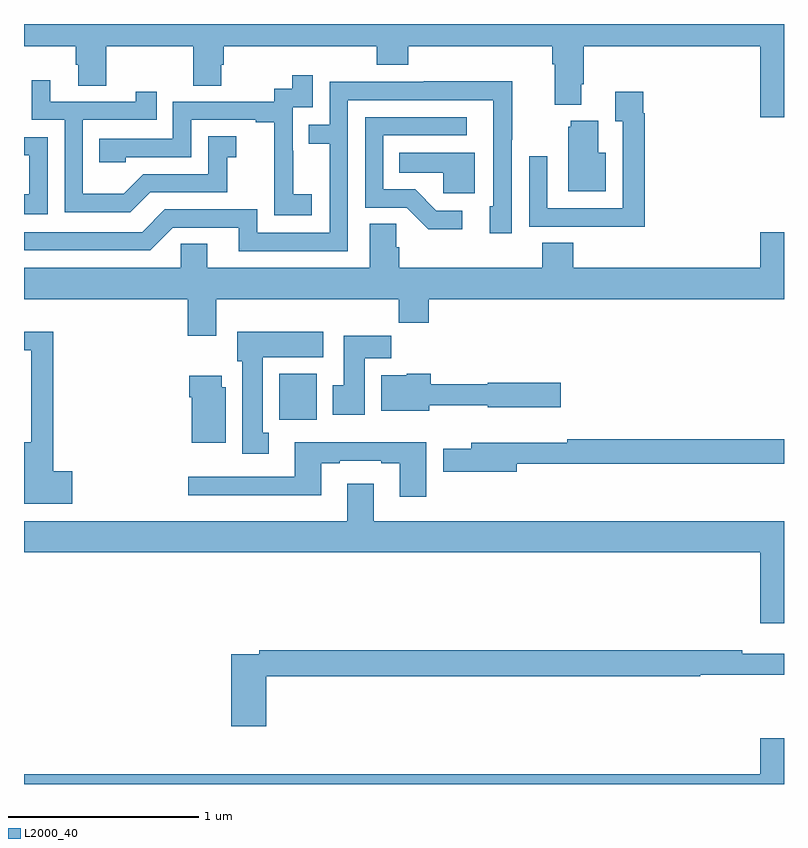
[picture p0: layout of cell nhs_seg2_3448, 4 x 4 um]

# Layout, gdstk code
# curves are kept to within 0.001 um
import gdstk
lib = gdstk.Library(unit=1e-6, precision=1e-09)
def R(c, l, rs):  # rectangles x0, y0, x1, y1
    for r in rs: c.add(gdstk.rectangle(r[:2], r[2:], *l))
def P(c, l, *ps):  # polygons
    for p in ps: c.add(gdstk.Polygon(p, *l))
L2000_40 = (2000, 40)

nhs_seg2_3448 = lib.new_cell('nhs_seg2_3448')
R(nhs_seg2_3448, L2000_40, [(294.344,597.716,294.541,597.958)])
P(nhs_seg2_3448, L2000_40, [(297,599.8),(293,599.8),(293,599.684),(293.273,599.684),(293.273,599.586),(293.285,599.586),(293.285,599.476),(293.433,599.476),(293.433,599.684),(293.89,599.684),(293.89,599.476),(294.037,599.476),(294.037,599.586),(294.05,599.586),(294.05,599.684),(294.857,599.684),(294.857,599.585),(295.022,599.585),(295.022,599.684),(295.781,599.684),(295.781,599.588),(295.793,599.588),(295.793,599.375),(295.933,599.375),(295.933,599.482),(295.946,599.482),(295.946,599.684),(296.876,599.684),(296.876,599.31),(297,599.31)],
  [(294.514,598.903),(294.416,598.903),(294.416,599.132),(294.414,599.132),(294.414,599.361),(294.519,599.361),(294.519,599.53),(294.411,599.53),(294.411,599.46),(294.318,599.46),(294.318,599.391),(293.784,599.391),(293.784,599.196),(293.395,599.196),(293.395,599.073),(293.535,599.073),(293.535,599.1),(293.88,599.1),(293.88,599.295),(294.221,599.295),(294.221,599.283),(294.317,599.283),(294.317,598.999),(294.316,598.999),(294.316,598.793),(294.514,598.793)],
  [(293.665,598.914),(294.069,598.914),(294.069,599.099),(294.118,599.099),(294.118,599.209),(293.97,599.209),(293.97,599.01),(293.628,599.01),(293.524,598.906),(293.31,598.906),(293.31,599.295),(293.699,599.295),(293.699,599.443),(293.588,599.443),(293.588,599.391),(293.137,599.391),(293.137,599.503),(293.04,599.503),(293.04,599.295),(293.214,599.295),(293.214,598.809),(293.56,598.809)],
  [(294.705,599.4),(295.469,599.4),(295.47,598.842),(295.451,598.842),(295.451,598.698),(295.566,598.698),(295.566,599.191),(295.569,599.191),(295.569,599.498),(295.105,599.498),(295.105,599.496),(294.609,599.496),(294.609,599.271),(294.499,599.271),(294.499,599.17),(294.609,599.17),(294.609,598.701),(294.228,598.701),(294.228,598.824),(293.742,598.824),(293.622,598.704),(293,598.704),(293,598.608),(293.664,598.608),(293.784,598.728),(294.131,598.728),(294.131,598.605),(294.705,598.605)],
  [(296.267,599.33),(296.26,599.33),(296.26,599.443),(296.111,599.443),(296.111,599.287),(296.151,599.287),(296.151,598.83),(295.755,598.83),(295.755,599.104),(295.659,599.104),(295.659,598.734),(295.975,598.734),(295.975,598.733),(296.267,598.733)],
  [(295.306,598.818),(295.171,598.818),(295.06,598.929),(294.891,598.929),(294.891,599.214),(295.33,599.214),(295.33,599.31),(294.795,599.31),(294.795,598.833),(295.014,598.833),(295.127,598.721),(295.306,598.721)],
  [(296.062,599.122),(296.023,599.122),(296.023,599.29),(295.877,599.29),(295.877,599.259),(295.865,599.259),(295.865,598.919),(296.062,598.919)],
  [(293.124,599.205),(293,599.205),(293,599.109),(293.027,599.109),(293.027,598.905),(293,598.905),(293,598.8),(293.124,598.8)],
  [(295.372,599.122),(294.976,599.122),(294.976,599.018),(295.207,599.018),(295.207,598.91),(295.372,598.91)],
  [(294.013,598.352),(294.973,598.352),(294.973,598.228),(295.13,598.228),(295.13,598.352),(297,598.352),(297,598.705),(296.876,598.705),(296.876,598.516),(295.892,598.516),(295.892,598.649),(295.727,598.649),(295.727,598.516),(294.974,598.516),(294.974,598.625),(294.96,598.625),(294.96,598.748),(294.821,598.748),(294.821,598.516),(293.965,598.516),(293.965,598.643),(293.826,598.643),(293.826,598.516),(293,598.516),(293,598.352),(293.861,598.352),(293.861,598.158),(294.013,598.158)],
  [(293.254,597.446),(293.153,597.446),(293.153,598.18),(293,598.18),(293,598.083),(293.037,598.083),(293.037,597.6),(293.001,597.6),(293.001,597.433),(293,597.433),(293,597.275),(293.254,597.275)],
  [(294.289,597.65),(294.256,597.65),(294.256,598.046),(294.574,598.046),(294.574,598.18),(294.122,598.18),(294.122,598.026),(294.149,598.026),(294.149,597.537),(294.289,597.537)],
  [(294.793,598.04),(294.932,598.04),(294.932,598.159),(294.683,598.159),(294.683,597.9),(294.626,597.9),(294.626,597.744),(294.793,597.744)],
  [(295.132,597.794),(295.44,597.794),(295.44,597.782),(295.825,597.782),(295.825,597.912),(295.44,597.912),(295.44,597.904),(295.14,597.904),(295.14,597.958),(295.014,597.958),(295.014,597.952),(294.881,597.952),(294.881,597.764),(295.132,597.764)],
  [(294.061,597.888),(294.04,597.888),(294.04,597.949),(293.87,597.949),(293.87,597.836),(293.882,597.836),(293.882,597.596),(294.061,597.596)],
  [(295.594,597.486),(297,597.486),(297,597.614),(295.859,597.614),(295.859,597.596),(295.355,597.596),(295.355,597.565),(295.206,597.565),(295.206,597.443),(295.594,597.443)],
  [(295.117,597.598),(294.425,597.598),(294.425,597.417),(293.865,597.417),(293.865,597.32),(294.565,597.32),(294.565,597.489),(294.661,597.489),(294.661,597.501),(294.881,597.501),(294.881,597.489),(294.977,597.489),(294.977,597.312),(295.117,597.312)],
  [(294.841,597.379),(294.701,597.379),(294.701,597.184),(293,597.184),(293,597.02),(296.876,597.02),(296.876,596.646),(297,596.646),(297,597.184),(294.841,597.184)],
  [(294.275,596.368),(296.558,596.368),(296.558,596.376),(297,596.376),(297,596.485),(296.78,596.485),(296.78,596.504),(294.238,596.504),(294.238,596.484),(294.092,596.484),(294.092,596.103),(294.275,596.103)],
  [(297,596.041),(296.876,596.041),(296.876,595.852),(293,595.852),(293,595.8),(297,595.8)])

lib.write_gds('nhs_seg2_3448.gds')
